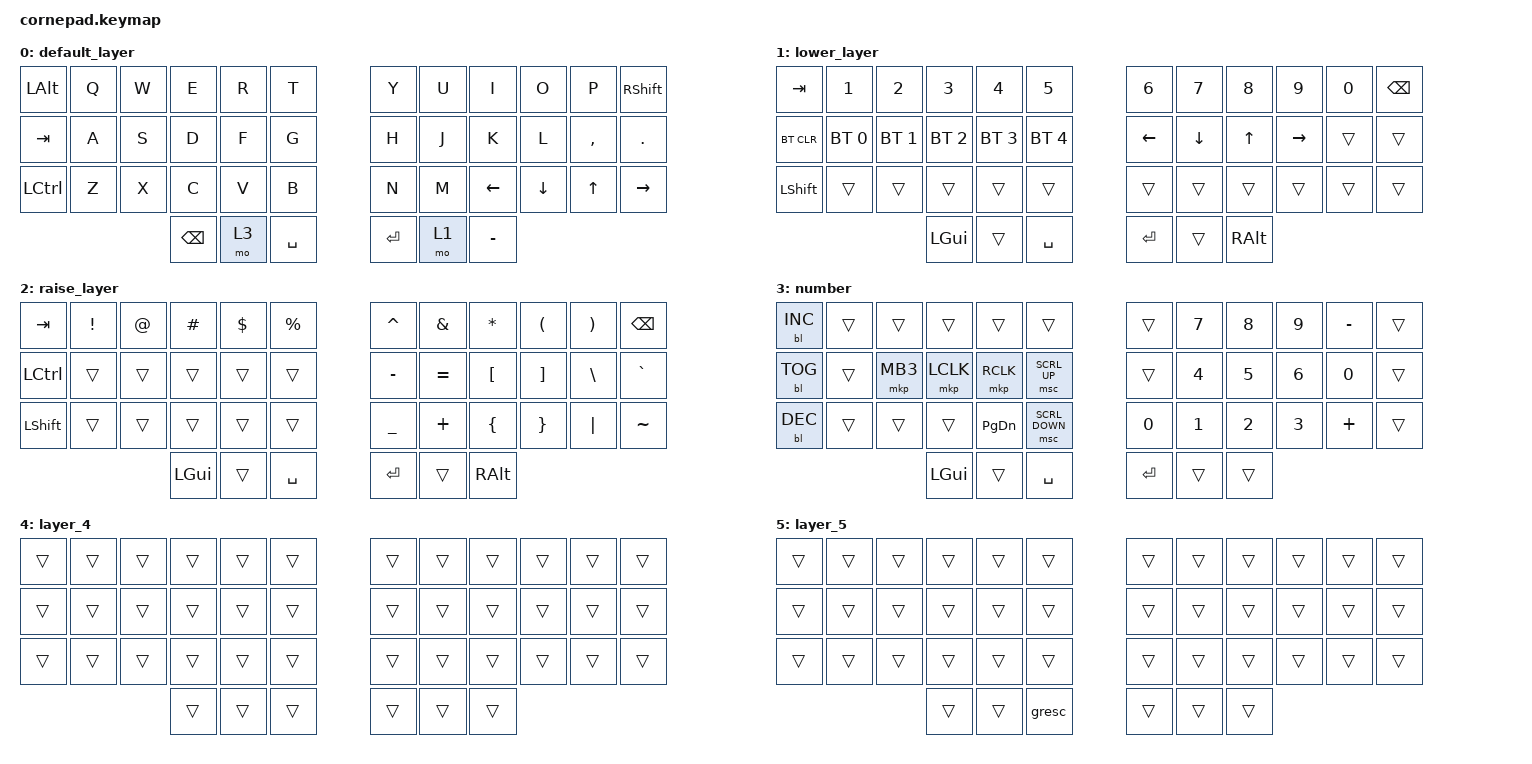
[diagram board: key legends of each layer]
/*
 * Copyright (c) 2020 The ZMK Contributors
 *
 * SPDX-License-Identifier: MIT
 */

#include <dt-bindings/zmk/mouse.h>
#include <behaviors.dtsi>
#include <dt-bindings/zmk/backlight.h>
#include <dt-bindings/zmk/bt.h>
#include <dt-bindings/zmk/keys.h>
#include <dt-bindings/zmk/pointing.h>

/ {
    keymap {
        compatible = "zmk,keymap";

        default_layer {
            // -----------------------------------------------------------------------------------------
            // |  TAB |  Q  |  W  |  E  |  R  |  T  |   |  Y  |  U   |  I  |  O  |  P  | BSPC |
            // | CTRL |  A  |  S  |  D  |  F  |  G  |   |  H  |  J   |  K  |  L  |  ;  |  '   |
            // | SHFT |  Z  |  X  |  C  |  V  |  B  |   |  N  |  M   |  ,  |  .  |  /  | ESC  |
            //                    | GUI | LWR | SPC |   | ENT | RSE  | ALT |

            bindings = <
&kp LEFT_ALT  &kp Q  &kp W  &kp E          &kp R  &kp T        &kp Y    &kp U  &kp I           &kp O           &kp P         &kp RIGHT_SHIFT
&kp TAB       &kp A  &kp S  &kp D          &kp F  &kp G        &kp H    &kp J  &kp K           &kp L           &kp COMMA     &kp PERIOD
&kp LCTRL     &kp Z  &kp X  &kp C          &kp V  &kp B        &kp N    &kp M  &kp LEFT_ARROW  &kp DOWN_ARROW  &kp UP_ARROW  &kp RIGHT_ARROW
                            &kp BACKSPACE  &mo 3  &kp SPACE    &kp RET  &mo 1  &kp MINUS
            >;
        };

        lower_layer {
            // -----------------------------------------------------------------------------------------
            // |  TAB |  1  |  2  |  3  |  4  |  5  |   |  6  |  7  |  8  |  9  |  0  | BSPC |
            // | BTCLR| BT1 | BT2 | BT3 | BT4 | BT5 |   | LFT | DWN |  UP | RGT |     |      |
            // | SHFT |     |     |     |     |     |   |     |     |     |     |     |      |
            //                    | GUI |     | SPC |   | ENT |     | ALT |

            bindings = <
&kp TAB     &kp N1        &kp N2        &kp N3        &kp N4        &kp N5          &kp N6    &kp N7    &kp N8    &kp N9     &kp N0  &kp BSPC
&bt BT_CLR  &bt BT_SEL 0  &bt BT_SEL 1  &bt BT_SEL 2  &bt BT_SEL 3  &bt BT_SEL 4    &kp LEFT  &kp DOWN  &kp UP    &kp RIGHT  &trans  &trans
&kp LSHFT   &trans        &trans        &trans        &trans        &trans          &trans    &trans    &trans    &trans     &trans  &trans
                                        &kp LGUI      &trans        &kp SPACE       &kp RET   &trans    &kp RALT
            >;
        };

        raise_layer {
            // -----------------------------------------------------------------------------------------
            // |  TAB |  !  |  @  |  #  |  $  |  %  |   |  ^  |  &  |  *  |  (  |  )  | BSPC |
            // | CTRL |     |     |     |     |     |   |  -  |  =  |  [  |  ]  |  \  |  `   |
            // | SHFT |     |     |     |     |     |   |  _  |  +  |  {  |  }  | "|" |  ~   |
            //                    | GUI |     | SPC |   | ENT |     | ALT |

            bindings = <
&kp TAB    &kp EXCL  &kp AT  &kp HASH  &kp DLLR  &kp PRCNT    &kp CARET  &kp AMPS   &kp ASTRK  &kp LPAR  &kp RPAR  &kp BSPC
&kp LCTRL  &trans    &trans  &trans    &trans    &trans       &kp MINUS  &kp EQUAL  &kp LBKT   &kp RBKT  &kp BSLH  &kp GRAVE
&kp LSHFT  &trans    &trans  &trans    &trans    &trans       &kp UNDER  &kp PLUS   &kp LBRC   &kp RBRC  &kp PIPE  &kp TILDE
                             &kp LGUI  &trans    &kp SPACE    &kp RET    &trans     &kp RALT
            >;
        };

        number {
            bindings = <
&bl BL_INC  &trans  &trans    &trans     &trans         &trans            &trans     &kp N7  &kp N8  &kp N9  &kp MINUS  &trans
&bl BL_TOG  &trans  &mkp MB3  &mkp LCLK  &mkp RCLK      &msc SCRL_UP      &trans     &kp N4  &kp N5  &kp N6  &kp N0     &trans
&bl BL_DEC  &trans  &trans    &trans     &kp PAGE_DOWN  &msc SCRL_DOWN    &kp N0     &kp N1  &kp N2  &kp N3  &kp PLUS   &trans
                              &kp LGUI   &trans         &kp SPACE         &kp ENTER  &trans  &trans
            >;
        };

        layer_4 {
            bindings = <
&trans  &trans  &trans  &trans  &trans  &trans    &trans  &trans  &trans  &trans  &trans  &trans
&trans  &trans  &trans  &trans  &trans  &trans    &trans  &trans  &trans  &trans  &trans  &trans
&trans  &trans  &trans  &trans  &trans  &trans    &trans  &trans  &trans  &trans  &trans  &trans
                        &trans  &trans  &trans    &trans  &trans  &trans
            >;
        };

        layer_5 {
            bindings = <
&trans  &trans  &trans  &trans  &trans  &trans    &trans  &trans  &trans  &trans  &trans  &trans
&trans  &trans  &trans  &trans  &trans  &trans    &trans  &trans  &trans  &trans  &trans  &trans
&trans  &trans  &trans  &trans  &trans  &trans    &trans  &trans  &trans  &trans  &trans  &trans
                        &trans  &trans  &gresc    &trans  &trans  &trans
            >;
        };
    };
};
